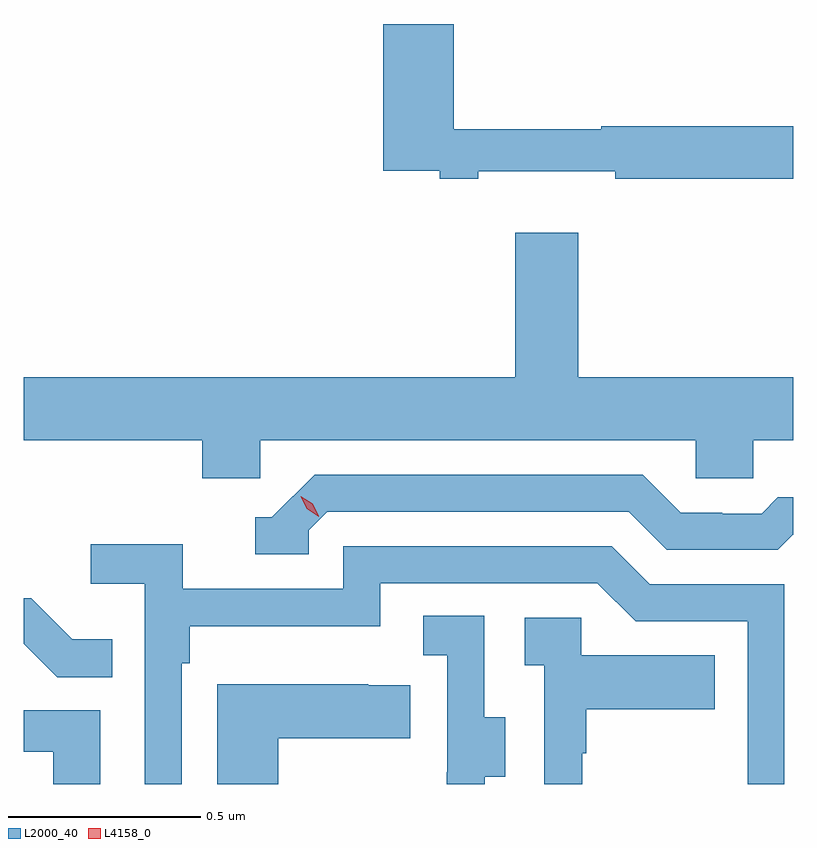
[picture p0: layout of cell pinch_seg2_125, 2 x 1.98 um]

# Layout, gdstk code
import gdstk
lib = gdstk.Library(unit=1e-6, precision=1e-09)
def P(c, l, *ps):  # polygons
    for p in ps: c.add(gdstk.Polygon(p, *l))
L2000_40 = (2000, 40)
L4158_0 = (4158, 0)

pinch_seg2_125 = lib.new_cell('pinch_seg2_125')
P(pinch_seg2_125, L2000_40, [(1028.048,637.679),(1028.404,637.679),(1028.404,637.66),(1028.867,637.66),(1028.867,637.796),(1028.368,637.796),(1028.368,637.789),(1027.985,637.789),(1027.985,638.062),(1027.802,638.062),(1027.802,637.68),(1027.948,637.68),(1027.948,637.66),(1028.048,637.66)],
  [(1027.482,636.98),(1028.613,636.98),(1028.613,636.882),(1028.763,636.882),(1028.763,636.98),(1028.867,636.98),(1028.867,637.144),(1028.308,637.144),(1028.308,637.519),(1028.144,637.519),(1028.144,637.144),(1026.867,637.144),(1026.867,636.98),(1027.331,636.98),(1027.331,636.882),(1027.482,636.882)],
  [(1027.608,636.747),(1027.656,636.795),(1028.439,636.795),(1028.538,636.696),(1028.827,636.696),(1028.866,636.735),(1028.867,636.735),(1028.867,636.832),(1028.827,636.832),(1028.785,636.789),(1028.682,636.789),(1028.682,636.792),(1028.575,636.792),(1028.476,636.891),(1027.623,636.891),(1027.512,636.78),(1027.469,636.78),(1027.469,636.684),(1027.608,636.684)],
  [(1027.278,636.401),(1027.298,636.401),(1027.298,636.497),(1027.794,636.497),(1027.794,636.609),(1028.358,636.609),(1028.457,636.51),(1028.748,636.51),(1028.748,636.087),(1028.844,636.087),(1028.844,636.606),(1028.494,636.606),(1028.395,636.705),(1027.698,636.705),(1027.698,636.594),(1027.28,636.594),(1027.28,636.71),(1027.041,636.71),(1027.041,636.608),(1027.182,636.608),(1027.182,636.087),(1027.278,636.087)],
  [(1027.097,636.463),(1026.993,636.463),(1026.886,636.57),(1026.867,636.57),(1026.867,636.451),(1026.954,636.364),(1027.097,636.364)],
  [(1028.065,636.106),(1028.119,636.106),(1028.119,636.261),(1028.064,636.261),(1028.064,636.524),(1027.905,636.524),(1027.905,636.421),(1027.968,636.421),(1027.968,636.117),(1027.967,636.117),(1027.967,636.087),(1028.065,636.087)],
  [(1028.319,636.167),(1028.329,636.167),(1028.329,636.281),(1028.663,636.281),(1028.663,636.421),(1028.316,636.421),(1028.316,636.519),(1028.169,636.519),(1028.169,636.395),(1028.22,636.395),(1028.22,636.087),(1028.319,636.087)],
  [(1027.528,636.206),(1027.871,636.206),(1027.871,636.343),(1027.763,636.343),(1027.763,636.346),(1027.37,636.346),(1027.37,636.087),(1027.528,636.087)],
  [(1027.066,636.279),(1026.867,636.279),(1026.867,636.171),(1026.944,636.171),(1026.944,636.087),(1027.066,636.087)])
P(pinch_seg2_125, L4158_0, [(1027.634,636.782),(1027.603,636.802),(1027.587,636.835),(1027.587,636.835),(1027.587,636.835),(1027.618,636.815),(1027.634,636.783),(1027.634,636.782)])

lib.write_gds('pinch_seg2_125.gds')
